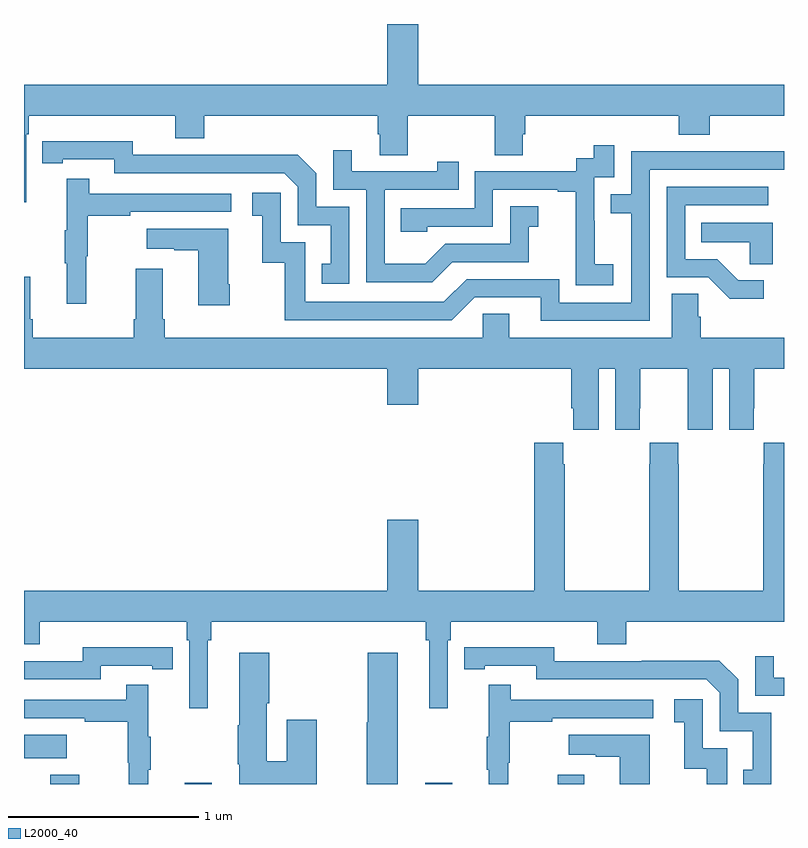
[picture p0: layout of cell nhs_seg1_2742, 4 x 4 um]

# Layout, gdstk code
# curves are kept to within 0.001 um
import gdstk
lib = gdstk.Library(unit=1e-6, precision=1e-09)
def R(c, l, rs):  # rectangles x0, y0, x1, y1
    for r in rs: c.add(gdstk.rectangle(r[:2], r[2:], *l))
def P(c, l, *ps):  # polygons
    for p in ps: c.add(gdstk.Polygon(p, *l))
L2000_40 = (2000, 40)

nhs_seg1_2742 = lib.new_cell('nhs_seg1_2742')
R(nhs_seg1_2742, L2000_40, [(259.139,564.199,259.291,564.247), (259.847,564.199,259.987,564.205), (261.113,564.199,261.253,564.205), (261.809,564.199,261.949,564.247), (259,564.335,259.225,564.457)])
P(nhs_seg1_2742, L2000_40, [(259.011,567.62),(259.025,567.62),(259.025,567.716),(259.796,567.716),(259.796,567.599),(259.949,567.599),(259.949,567.716),(260.861,567.716),(260.861,567.618),(260.873,567.618),(260.873,567.508),(261.021,567.508),(261.021,567.716),(261.478,567.716),(261.478,567.508),(261.625,567.508),(261.625,567.618),(261.638,567.618),(261.638,567.716),(262.445,567.716),(262.445,567.617),(262.61,567.617),(262.61,567.716),(263,567.716),(263,567.88),(261.076,567.88),(261.076,568.199),(260.912,568.199),(260.912,567.88),(259,567.88),(259,567.261),(259.011,567.261)],
  [(260.712,567.237),(260.538,567.237),(260.538,567.414),(260.44,567.512),(260.032,567.512),(260.032,567.51),(259.572,567.51),(259.572,567.583),(259.096,567.582),(259.096,567.466),(259.204,567.466),(259.204,567.486),(259.476,567.486),(259.476,567.414),(260.37,567.414),(260.442,567.342),(260.442,567.141),(260.615,567.141),(260.615,566.937),(260.566,566.937),(260.566,566.832),(260.712,566.832)],
  [(262.102,566.935),(262.004,566.935),(262.004,567.164),(262.002,567.164),(262.002,567.393),(262.107,567.393),(262.107,567.562),(261.999,567.562),(261.999,567.492),(261.906,567.492),(261.906,567.423),(261.372,567.423),(261.372,567.228),(260.983,567.228),(260.983,567.105),(261.123,567.105),(261.123,567.132),(261.468,567.132),(261.468,567.327),(261.809,567.327),(261.809,567.315),(261.904,567.315),(261.904,566.825),(262.102,566.825)],
  [(261.253,566.946),(261.657,566.946),(261.657,567.131),(261.706,567.131),(261.706,567.241),(261.558,567.241),(261.558,567.042),(261.216,567.042),(261.112,566.938),(260.898,566.938),(260.898,567.327),(261.287,567.327),(261.287,567.475),(261.176,567.475),(261.176,567.423),(260.725,567.423),(260.725,567.535),(260.628,567.535),(260.628,567.327),(260.802,567.327),(260.802,566.841),(261.148,566.841)],
  [(262.293,567.432),(263,567.432),(263,567.53),(262.693,567.53),(262.693,567.528),(262.197,567.528),(262.197,567.303),(262.087,567.303),(262.087,567.202),(262.197,567.202),(262.197,566.733),(261.816,566.733),(261.816,566.856),(261.33,566.856),(261.21,566.736),(260.481,566.736),(260.481,567.051),(260.352,567.051),(260.352,567.31),(260.202,567.31),(260.202,567.189),(260.255,567.189),(260.255,566.943),(260.373,566.943),(260.373,566.64),(261.252,566.64),(261.372,566.76),(261.719,566.76),(261.719,566.637),(262.293,566.637)],
  [(259.328,566.976),(259.336,566.976),(259.336,567.19),(259.559,567.19),(259.559,567.21),(260.092,567.21),(260.092,567.306),(259.343,567.306),(259.343,567.385),(259.226,567.385),(259.226,567.113),(259.215,567.113),(259.215,566.939),(259.226,566.939),(259.226,566.727),(259.328,566.727)],
  [(262.894,566.85),(262.759,566.85),(262.648,566.961),(262.479,566.961),(262.479,567.246),(262.918,567.246),(262.918,567.342),(262.383,567.342),(262.383,566.865),(262.602,566.865),(262.715,566.753),(262.894,566.753)],
  [(262.942,567.154),(262.564,567.154),(262.564,567.05),(262.821,567.05),(262.821,566.935),(262.942,566.935)],
  [(260.082,566.83),(260.074,566.83),(260.074,567.121),(259.647,567.121),(259.647,567.017),(259.79,567.017),(259.79,567.007),(259.916,567.007),(259.916,566.718),(260.082,566.718)],
  [(262.024,566.384),(262.112,566.384),(262.112,566.064),(262.242,566.064),(262.242,566.176),(262.243,566.176),(262.243,566.384),(262.493,566.384),(262.493,566.176),(262.494,566.176),(262.494,566.064),(262.624,566.064),(262.624,566.384),(262.712,566.384),(262.712,566.064),(262.842,566.064),(262.842,566.176),(262.843,566.176),(262.843,566.384),(263,566.384),(263,566.548),(262.562,566.548),(262.562,566.657),(262.548,566.657),(262.548,566.78),(262.409,566.78),(262.409,566.548),(261.553,566.548),(261.553,566.675),(261.414,566.675),(261.414,566.548),(259.742,566.548),(259.742,566.644),(259.729,566.644),(259.729,566.911),(259.589,566.911),(259.589,566.644),(259.577,566.644),(259.577,566.548),(259.046,566.548),(259.046,566.644),(259.033,566.644),(259.033,566.869),(259,566.869),(259,566.384),(260.912,566.384),(260.912,566.196),(261.076,566.196),(261.076,566.384),(261.881,566.384),(261.881,566.176),(261.89,566.176),(261.89,566.064),(262.024,566.064)],
  [(261.076,565.591),(260.912,565.591),(260.912,565.216),(259,565.216),(259,564.935),(259.084,564.935),(259.084,565.052),(259.856,565.052),(259.856,564.956),(259.869,564.956),(259.869,564.597),(259.966,564.597),(259.966,564.956),(259.985,564.956),(259.985,565.052),(261.115,565.052),(261.115,564.956),(261.134,564.956),(261.134,564.597),(261.231,564.597),(261.231,564.956),(261.245,564.956),(261.245,565.052),(262.016,565.052),(262.016,564.935),(262.169,564.935),(262.169,565.052),(263,565.052),(263,565.996),(262.893,565.996),(262.893,565.883),(262.891,565.883),(262.891,565.216),(262.446,565.216),(262.446,565.883),(262.443,565.883),(262.443,565.996),(262.293,565.996),(262.293,565.883),(262.291,565.883),(262.291,565.216),(261.846,565.216),(261.846,565.883),(261.839,565.883),(261.839,565.996),(261.686,565.996),(261.686,565.216),(261.076,565.216)],
  [(259.404,564.822),(259.676,564.822),(259.676,564.802),(259.784,564.802),(259.784,564.918),(259.676,564.918),(259.676,564.919),(259.308,564.919),(259.308,564.846),(259,564.846),(259,564.75),(259.404,564.75)],
  [(262.932,564.573),(262.758,564.573),(262.758,564.75),(262.66,564.848),(262.252,564.848),(262.252,564.846),(261.792,564.846),(261.792,564.919),(261.316,564.918),(261.316,564.802),(261.424,564.802),(261.424,564.822),(261.696,564.822),(261.696,564.75),(262.59,564.75),(262.662,564.678),(262.662,564.477),(262.835,564.477),(262.835,564.273),(262.786,564.273),(262.786,564.199),(262.932,564.199)],
  [(260.968,564.889),(260.81,564.889),(260.81,564.525),(260.804,564.525),(260.804,564.199),(260.968,564.199)],
  [(260.542,564.538),(260.384,564.538),(260.384,564.32),(260.278,564.32),(260.278,564.625),(260.291,564.625),(260.291,564.889),(260.132,564.889),(260.132,564.509),(260.125,564.509),(260.125,564.303),(260.132,564.303),(260.132,564.199),(260.542,564.199)],
  [(263,564.759),(262.945,564.759),(262.945,564.871),(262.848,564.871),(262.848,564.663),(263,564.663)],
  [(259.654,564.275),(259.666,564.275),(259.666,564.449),(259.654,564.449),(259.654,564.721),(259.537,564.721),(259.537,564.642),(259,564.642),(259,564.546),(259.321,564.546),(259.321,564.526),(259.545,564.526),(259.545,564.312),(259.552,564.312),(259.552,564.199),(259.654,564.199)],
  [(261.548,564.312),(261.556,564.312),(261.556,564.526),(261.779,564.526),(261.779,564.546),(262.312,564.546),(262.312,564.642),(261.563,564.642),(261.563,564.721),(261.446,564.721),(261.446,564.449),(261.435,564.449),(261.435,564.275),(261.446,564.275),(261.446,564.199),(261.548,564.199)],
  [(262.701,564.387),(262.572,564.387),(262.572,564.646),(262.422,564.646),(262.422,564.525),(262.475,564.525),(262.475,564.279),(262.593,564.279),(262.593,564.199),(262.701,564.199)],
  [(262.294,564.457),(261.867,564.457),(261.867,564.353),(262.01,564.353),(262.01,564.343),(262.136,564.343),(262.136,564.199),(262.294,564.199)])

lib.write_gds('nhs_seg1_2742.gds')
